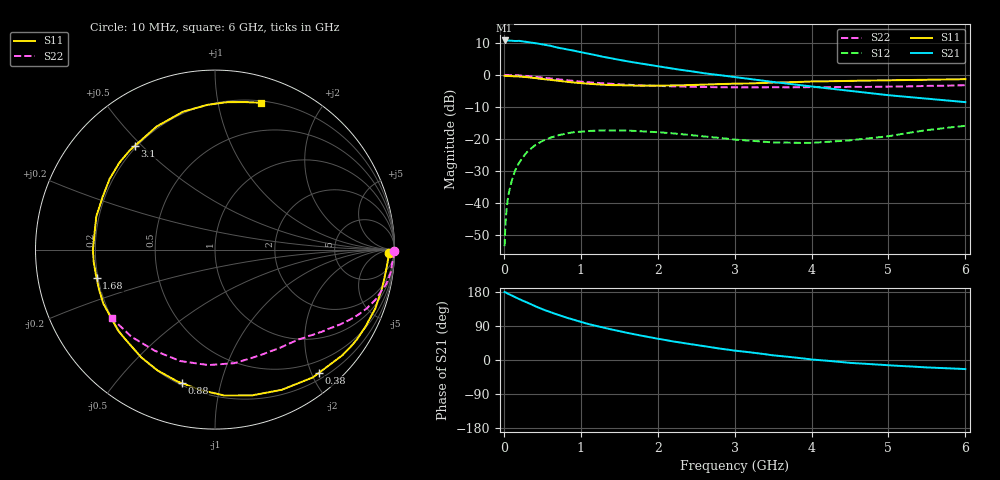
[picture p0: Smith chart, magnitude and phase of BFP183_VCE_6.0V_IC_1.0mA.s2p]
! Infineon Technologies  Discrete & RF Semiconductors
! BFP183
! VCE = 6.0 V,  IC =  1.0 mA
! Common Emitter S-Parameters:  Jan 2016
# GHz  S  MA  R  50
!  f  S11  S21  S12  S22
! GHz  MAG  ANG  MAG  ANG  MAG  ANG  MAG  ANG
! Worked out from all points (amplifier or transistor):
!   210 points, 10 MHz to 6 GHz, reference 50 ohm
!   highest |S21| = 10.8 dB at 10 MHz (marker M1)
!   |S21| within 3 dB of that: start of sweep to 869 MHz
!   unconditionally stable (mu >= 1): 2.49 GHz to end of sweep
!   at 185 MHz: K = 0.07, MSG = 19.4 dB, |S12| = -28.1 dB
!   at 1.52 GHz: K = 0.58, MSG = 11.0 dB, |S12| = -17.4 dB
!   at 6 GHz: K = 1.03, MAG = 2.7 dB, |S12| = -15.9 dB
!   S11 on the Smith chart (normalised r, x): 10 MHz: 44, -29; 380 MHz: 0.30, -2.12; 880 MHz: 0.21, -0.76; 1.68 GHz: 0.19, -0.11; 3.1 GHz: 0.19, +0.48; 6 GHz: 0.22, +1.34
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0.01  0.9688 -1.2  3.452 179.4  0.0021 84.1  0.9995 -0.5
0.015  0.9678 -1.9  3.452 179.1  0.0032 85.0  0.9973 -0.7
0.025  0.9657 -3.4  3.451 178.1  0.0054 86.1  0.9952 -1.1
0.045  0.9617 -6.0  3.449 175.8  0.01 87.1  0.9954 -2.1
0.105  0.9543 -13.8  3.415 170.0  0.0225 81.2  0.989 -4.9
0.2  0.9422 -27.1  3.401 160.8  0.0424 74.1  0.9808 -9.2
0.38  0.8985 -49.9  3.176 144.5  0.075 59.8  0.9404 -16.6
0.5  0.8653 -64.5  3.004 134.1  0.0924 51.5  0.9074 -21.1
0.6  0.838 -75.8  2.861 126.5  0.1038 45.4  0.8792 -24.2
0.7  0.8145 -86.4  2.664 119.5  0.1133 39.8  0.8525 -26.9
0.88  0.7663 -104.0  2.429 107.7  0.1253 31.0  0.8096 -31.1
1.02  0.7403 -117.2  2.238 99.6  0.1303 24.9  0.7795 -34.1
1.1  0.7274 -124.4  2.152 94.8  0.133 21.9  0.765 -35.6
1.3  0.7038 -140.0  1.909 85.1  0.1356 14.9  0.7355 -39.2
1.68  0.6786 -166.5  1.574 68.5  0.1335 5.4  0.6945 -45.3
2.02  0.6772 173.6  1.354 55.5  0.1266 -0.6  0.6704 -50.7
2.6  0.707 146.1  1.061 36.5  0.1092 -5.6  0.6455 -61.2
3.1  0.7307 127.5  0.891 22.6  0.0955 -4.2  0.6373 -71.6
3.5  0.7593 115.3  0.775 12.3  0.088 0.8  0.6419 -80.3
4.1  0.7907 101.0  0.638 -0.2  0.0881 13.1  0.6426 -96.1
5.1  0.8262 83.9  0.469 -15.1  0.1153 27.6  0.6564 -123.4
6  0.8577 72.5  0.375 -24.0  0.1598 24.6  0.6906 -146.6
